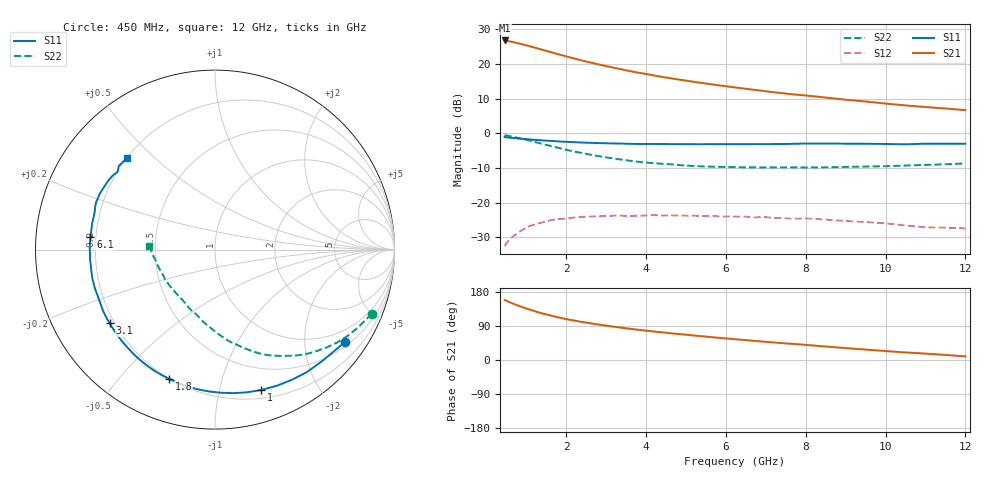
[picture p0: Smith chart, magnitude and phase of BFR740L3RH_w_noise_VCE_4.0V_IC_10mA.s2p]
! (c) 2012  Infineon Technologies AG, Munich
! Infineon Technologies  Discrete & RF Semiconductors
! BFR740L3RH
! VCE =  4.0 V,  IC =  10 mA
! Common Emitter S-Parameters:  May 2012
# GHz  S  MA  R  50
!  f  S11  S21  S12  S22
! GHz  MAG  ANG  MAG  ANG  MAG  ANG  MAG  ANG
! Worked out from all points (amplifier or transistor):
!   85 points, 450 MHz to 12 GHz, reference 50 ohm
!   highest |S21| = 26.8 dB at 450 MHz (marker M1)
!   |S21| within 3 dB of that: start of sweep to 1.496 GHz
!   unconditionally stable (mu >= 1): 8.166 GHz to end of sweep
!   at 1.8 GHz: K = 0.19, MSG = 23.7 dB, |S12| = -24.7 dB
!   at 4.6 GHz: K = 0.50, MSG = 19.8 dB, |S12| = -23.6 dB
!   at 12 GHz: K = 2.27, MAG = 10.7 dB, |S12| = -27.4 dB
!   lowest NFmin = 0.59 dB at 450 MHz
!   S11 on the Smith chart (normalised r, x): 450 MHz: 0.61, -3.00; 1 GHz: 0.28, -1.34; 1.8 GHz: 0.20, -0.69; 3.1 GHz: 0.18, -0.31; 6.1 GHz: 0.18, +0.05; 12 GHz: 0.20, +0.41
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0.45  0.8884 -35.6  21.76 158.4  0.0237 60.3  0.9429 -22.2
0.6  0.8618 -46.1  20.97 151.4  0.0306 62.4  0.9056 -28.9
0.7  0.8532 -53.1  20.39 147.1  0.0339 58.8  0.8807 -33.2
0.8  0.8424 -59.6  19.74 143.1  0.0374 56.0  0.8547 -37.3
1  0.8235 -71.8  18.45 135.7  0.0439 50.4  0.8023 -44.7
1.2  0.8062 -82.7  17.19 129.0  0.0485 44.4  0.7516 -51.5
1.4  0.7908 -92.6  15.95 122.8  0.0521 40.6  0.7024 -57.5
1.6  0.779 -101.2  14.83 117.5  0.0559 36.1  0.659 -63.2
1.8  0.7645 -109.4  13.75 112.4  0.0582 32.7  0.6168 -68.2
2.1  0.7498 -119.8  12.35 105.8  0.0604 27.9  0.5615 -74.8
2.4  0.7364 -128.6  11.15 100.3  0.0628 24.2  0.5188 -80.9
2.7  0.7265 -136.1  10.15 95.2  0.0637 21.4  0.481 -86.1
3.1  0.7165 -145.0  9.022 89.1  0.0644 16.7  0.4409 -92.5
3.7  0.7043 -156.1  7.669 81.0  0.0649 13.0  0.3953 -101.7
4.3  0.7018 -164.9  6.65 74.0  0.066 10.0  0.3679 -109.2
5.3  0.6969 -177.5  5.405 63.6  0.0647 4.9  0.3365 -121.5
6.1  0.6975 174.4  4.682 56.0  0.0638 2.5  0.3266 -130.8
6.3  0.6979 172.5  4.525 54.1  0.0629 1.6  0.325 -133.1
7.3  0.7012 164.0  3.848 45.4  0.0604 -0.8  0.3224 -144.5
8.5  0.7132 153.8  3.274 35.5  0.0572 -4.1  0.3241 -156.8
10.5  0.6941 141.4  2.522 19.9  0.0471 -4.1  0.3437 -173.1
12  0.7082 133.9  2.157 9.7  0.0428 6.2  0.3682 177.1
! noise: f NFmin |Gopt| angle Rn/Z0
0.45  0.59  0.25  4  0.12
0.9  0.6  0.25  15  0.12
1.5  0.61  0.26  33  0.1
1.9  0.63  0.27  43  0.11
2.4  0.65  0.3  52  0.1
3.5  0.71  0.29  72  0.1
5.5  0.86  0.31  103  0.09
8  1.06  0.33  142  0.08
10  1.24  0.35  168  0.07
12  1.41  0.39  -158  0.07
